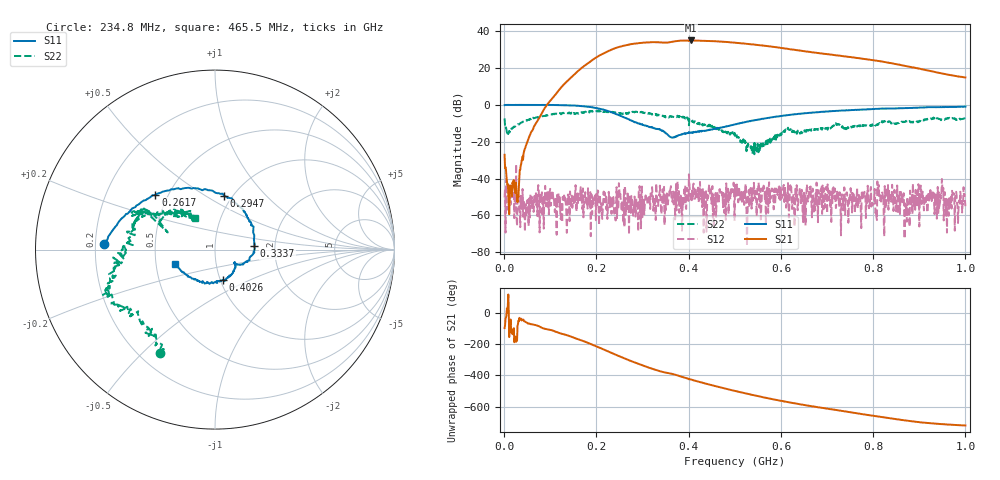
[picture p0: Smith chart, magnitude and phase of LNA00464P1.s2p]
! Created with skrf 1.9.0 (http://scikit-rf.org).
# Hz S RI R 50.0
!freq ReS11 ImS11 ReS21 ImS21 ReS12 ImS12 ReS22 ImS22
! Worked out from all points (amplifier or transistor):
!   1001 points, 1 MHz to 1 GHz, reference 50 ohm
!   highest |S21| = 35.0 dB at 404.6 MHz (marker M1)
!   |S21| within 3 dB of that: 256.9 MHz to 568.7 MHz (311.8 MHz wide, 75.5 % of centre)
!   unconditionally stable (mu >= 1): start of sweep to 67.26 MHz; 248.9 MHz to 329.6 MHz; 329.8 MHz to end of sweep (the widest 3 of 31)
!   at 166.8 MHz: K = 1.83, MAG = 29.9 dB, |S12| = -50.4 dB
!   at 500.5 MHz: K = 1.47, MAG = 34.5 dB, |S12| = -43.3 dB
!   at 1 GHz: K = 7.61, MAG = 23.1 dB, |S12| = -55.0 dB
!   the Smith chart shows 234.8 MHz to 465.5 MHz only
!   S11 on the Smith chart (normalised r, x): 234.8 MHz: 0.23, +0.02; 261.7 MHz: 0.43, +0.33; 294.7 MHz: 0.92, +0.60; 333.7 MHz: 1.56, +0.06; 402.6 MHz: 1.03, -0.36; 465.5 MHz: 0.63, -0.10
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1000000  0.9839 0.00758  -0.00661 -0.0438  -0.00162 0.00264  0.3078 0.2981
1.08892e8  0.5224 -0.8461  -0.8334 -1.551  0.0018 -0.000741  0.4191 -0.3688
1.67833e8  -0.2318 -0.8958  -10.01 -0.4659  0.00142 -0.00449  0.0386 -0.6309
2.06794e8  -0.6548 -0.4338  -15.9 15.18  0.00255 0.00124  -0.1881 -0.6381
2.34766e8  -0.62 0.0287  -5.799 31.85  -0.000119 0.00165  -0.3066 -0.5747
2.61739e8  -0.3318 0.3051  16.21 37.41  -0.00599 -0.00243  -0.4308 -0.3533
2.94706e8  0.0514 0.2981  41.86 23.2  -0.000805 0.000101  -0.5927 -0.2055
3.13687e8  0.1832 0.1742  49.19 7.264  0.00164 0.00117  -0.5695 -0.1437
3.33667e8  0.219 0.0186  49.12 -9.051  -0.00179 -0.000135  -0.5453 -0.0185
3.34666e8  0.2212 0.0074  48.99 -9.928  -0.00211 0.00153  -0.5262 -0.0203
3.72628e8  0.1158 -0.0825  42.19 -33.31  -0.00366 0.0061  -0.4489 0.148
4.02598e8  0.046 -0.1686  23.25 -50.62  0.00307 0.00357  -0.327 0.192
4.04596e8  0.0417 -0.1699  21.62 -51.6  -0.000632 0.00239  -0.3237 0.1979
4.33567e8  -0.0976 -0.1706  -0.5062 -54.54  0.00394 0.00165  -0.2088 0.2038
4.65535e8  -0.2223 -0.0777  -22.55 -47.48  0.00235 0.000409  -0.1133 0.1761
5.005e8  -0.2814 0.0967  -37.67 -31.11  0.00579 0.00358  -0.0822 0.1191
5.4046e8  -0.2265 0.3062  -42.37 -9.606  0.00475 0.00161  -0.0681 0.0332
5.88412e8  -0.0427 0.474  -35.27 10.78  0.00336 0.000568  -0.121 -0.0478
6.67333e8  0.3248 0.5228  -13.98 22.75  0.000801 -0.000394  -0.2191 0.000116
7.53247e8  0.6272 0.3593  2.698 19.39  0.000788 -0.00298  -0.239 0.0433
8.34166e8  0.7851 0.126  9.667 9.954  -0.00463 -0.000824  -0.3562 0.0411
1e9  0.8056 -0.4  5.574 -0.0962  -0.000426 0.00173  -0.224 0.3452
